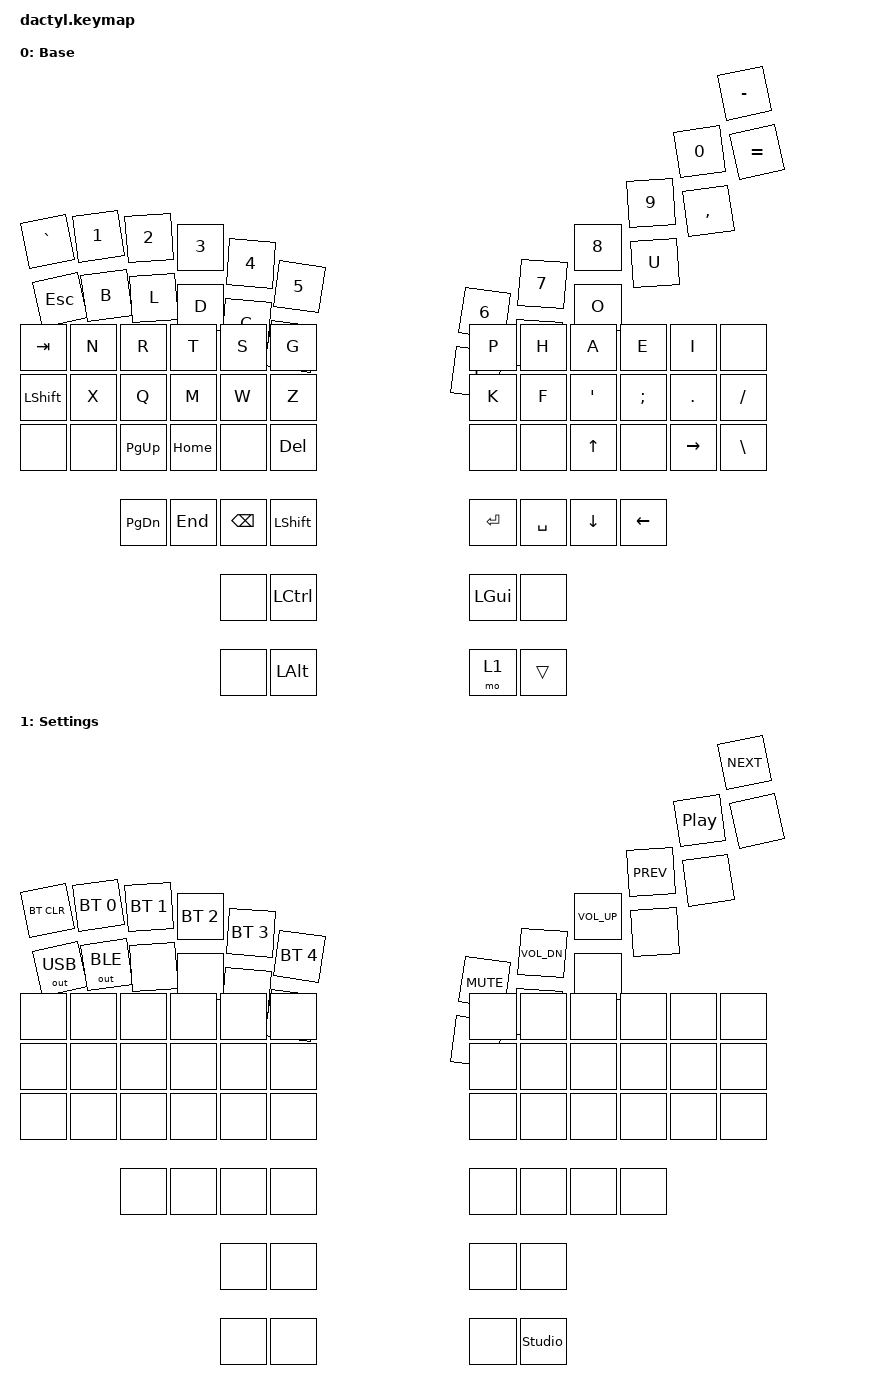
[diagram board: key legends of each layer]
#include <behaviors.dtsi>
#include <dt-bindings/zmk/keys.h>
#include <dt-bindings/zmk/bt.h>
#include <dt-bindings/zmk/outputs.h>

/ {
    keymap {
        compatible = "zmk,keymap";

        default_layer {
            display-name = "Base";
            // Left Half                                       // Right Half
            bindings = <
                &kp GRAVE &kp N1 &kp N2 &kp N3 &kp N4 &kp N5   &kp N6 &kp N7 &kp N8 &kp N9 &kp N0 &kp MINUS
                &kp ESC &kp B &kp L &kp D &kp C &kp V   &kp J &kp Y &kp O &kp U &kp COMMA &kp EQUAL
                &kp TAB &kp N &kp R &kp T &kp S &kp G   &kp P &kp H &kp A &kp E &kp I &none
                &kp LSHFT &kp X &kp Q &kp M &kp W &kp Z   &kp K &kp F &kp SQT &kp SEMI &kp DOT &kp FSLH
                &none &none &kp PG_UP &kp HOME &none &kp DEL   &none &none &kp UP &none &kp RIGHT &kp BSLH
                                &kp PG_DN &kp END &kp BSPC &kp LSHFT    &kp RET &kp SPACE &kp DOWN &kp LEFT
                                                   &none &kp LCTRL   &kp LGUI &none
                                                   &none &kp LALT   &mo 1 &trans
            >;
        };

        settings_layer {
            display-name = "Settings";
            // Left Half                                       // Right Half
            bindings = <
                &bt BT_CLR &bt BT_SEL 0 &bt BT_SEL 1 &bt BT_SEL 2 &bt BT_SEL 3 &bt BT_SEL 4   &kp C_MUTE &kp C_VOL_DN &kp C_VOL_UP &kp C_PREV &kp C_PLAY_PAUSE &kp C_NEXT
                &out OUT_USB &out OUT_BLE &none &none &none &none   &none &none &none &none &none &none
                &none &none &none &none &none &none   &none &none &none &none &none &none
                &none &none &none &none &none &none   &none &none &none &none &none &none
                &none &none &none &none &none &none   &none &none &none &none &none &none
                                &none &none &none &none    &none &none &none &none
                                                   &none &none   &none &none
                                                   &none &none   &none &studio_unlock
            >;
        };
    };
};
